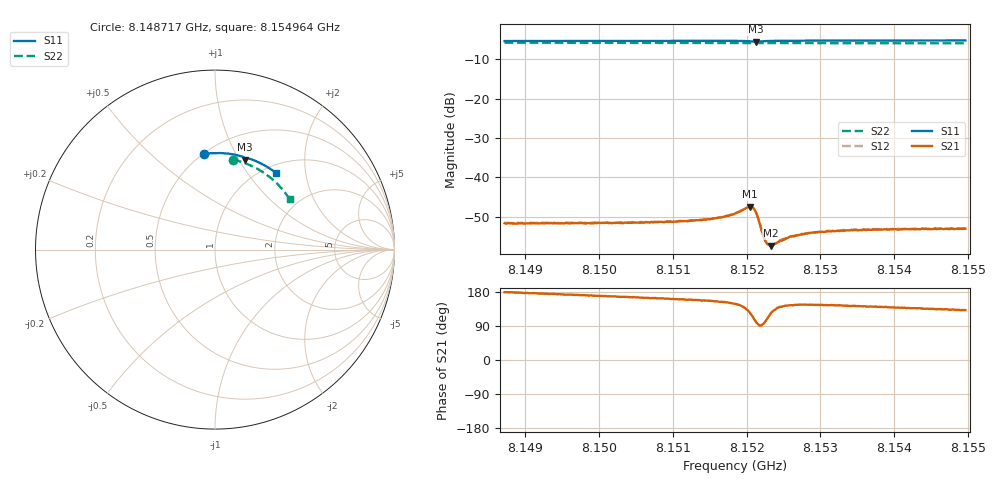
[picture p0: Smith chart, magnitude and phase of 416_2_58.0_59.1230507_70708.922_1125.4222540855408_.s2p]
#  HZ  S  RI  R  50.00
! Rohde & Schwarz Vector Network Analyzer
! Rohde-Schwarz,ZNB20-2Port,1311601062101988,3.16
! Created: UTC 3/21/2024, 1:08:57 AM
! freq[Hz]  re:S11  im:S11  re:S21  im:S21  re:S12  im:S12  re:S22  im:S22
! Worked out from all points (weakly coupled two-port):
!   401 points, 8.148717 GHz to 8.154964 GHz, reference 50 ohm
!   highest |S21| = -47.39 dB at 8.152044 GHz (marker M1); lowest = -57.3 dB at 8.152325 GHz (marker M2)
!   lowest |S11| = -5.5 dB at 8.152122 GHz (marker M3), VSWR 3.24, Z = 38 + j52.9 ohm
!   |S11| at or under -10 dB: nowhere
!   |S22| runs from -6.0 to -5.8 dB; largest |S21 - S12| = 0.00011
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8.1487174e9  -0.0636 0.5326  -0.00263 4.5e-05  -0.00265 8.08e-05  0.0993 0.5017
8.1497638e9  0.00911 0.5382  -0.00263 0.000426  -0.00261 0.000442  0.1641 0.4828
8.1508102e9  0.082 0.5337  -0.00262 0.000809  -0.0026 0.000842  0.2258 0.4556
8.151185e9  0.1081 0.5296  -0.00261 0.00101  -0.00265 0.00103  0.2466 0.444
8.1514973e9  0.13 0.5248  -0.0027 0.00118  -0.0027 0.00127  0.2637 0.4335
8.1517316e9  0.1468 0.5201  -0.00287 0.00153  -0.00289 0.00159  0.2761 0.4252
8.1518409e9  0.1549 0.5171  -0.00298 0.00184  -0.00296 0.0019  0.2819 0.4214
8.1520439e9  0.1676 0.5052  -0.00242 0.00352  -0.00242 0.00358  0.2923 0.4133
8.1520908e9  0.1666 0.502  -0.00146 0.0038  -0.00144 0.00386  0.2943 0.4116
8.152122e9  0.1649 0.5017  -0.000721 0.00358  -0.000681 0.00363  0.2958 0.4105
8.1521533e9  0.1641 0.5032  -0.000236 0.00306  -0.000187 0.00306  0.2974 0.4095
8.1522157e9  0.1665 0.5072  -0.00013 0.00192  -9.35e-05 0.00196  0.3005 0.4071
8.152247e9  0.1691 0.5083  -0.000287 0.00158  -0.000255 0.00159  0.3021 0.4059
8.1522782e9  0.1719 0.509  -0.000477 0.00135  -0.000472 0.00137  0.3037 0.4047
8.152325e9  0.1759 0.5092  -0.000743 0.00115  -0.000699 0.00115  0.3061 0.403
8.1523563e9  0.1786 0.5091  -0.000865 0.00108  -0.000866 0.00111  0.3078 0.4018
8.1524812e9  0.1885 0.5072  -0.00123 0.000993  -0.0013 0.00104  0.3139 0.3968
8.1526062e9  0.1976 0.5045  -0.00146 0.00103  -0.00146 0.00105  0.3199 0.3916
8.1528873e9  0.2169 0.4975  -0.00166 0.00111  -0.00162 0.00117  0.3333 0.3799
8.1534495e9  0.2529 0.4814  -0.00173 0.00132  -0.00169 0.00133  0.3586 0.3549
8.1539336e9  0.2825 0.4654  -0.00166 0.00144  -0.00162 0.00148  0.3787 0.3321
8.1549644e9  0.3417 0.4258  -0.00149 0.00168  -0.00148 0.00173  0.4165 0.2799
